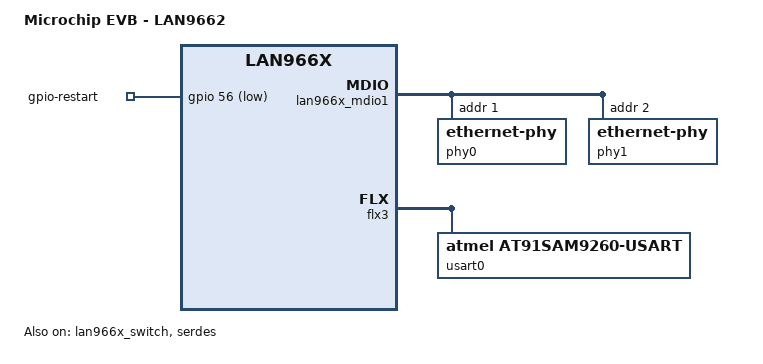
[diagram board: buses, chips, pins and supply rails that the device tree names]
// SPDX-License-Identifier: (GPL-2.0+ OR MIT)
/*
 * lan966x-sunrise.dts - Device Tree file for the Sunrise board
 */
/dts-v1/;
#include "lan9662_hsio_mode_1.dtsi"

/ {
	model = "Microchip EVB - LAN9662";
	compatible = "microchip,lan966x-sunrise", "microchip,lan966x";

	gpio-restart {
		compatible = "gpio-restart";
		gpios = <&gpio 56 GPIO_ACTIVE_LOW>;
		priority = <200>;
	};
};

&lan966x_mdio1 {
	status = "okay";

	phy0: ethernet-phy@1 {
		reg = <1>;
	};

	phy1: ethernet-phy@2 {
		reg = <2>;
	};
};

&lan966x_switch {
	status = "okay";
};

&serdes {
	status = "okay";
};

&port0 {
	status = "okay";
	phy-handle = <&phy0>;

	#address-cells = <1>;
	#size-cells = <0>;
};

&port1 {
	status = "okay";
	phy-handle = <&phy1>;

	#address-cells = <1>;
	#size-cells = <0>;
};

&flx3 {
	atmel,flexcom-mode = <ATMEL_FLEXCOM_MODE_USART>;
	status = "okay";

	usart0: serial@200 {
		compatible = "atmel,at91sam9260-usart";
		reg = <0x200 0x200>;
		interrupts = <GIC_SPI 51 IRQ_TYPE_LEVEL_HIGH>;
		clocks = <&nic_clk>;
		clock-names = "usart";
		assinged-clocks = <&clks GCK_ID_FLEXCOM3>;
		assigned-clock-rates = <30000000>;
		pinctrl-0 = <&fc3_b_pins>, <&fc_shrd7_pins>, <&fc_shrd8_pins>;
		pinctrl-names = "default";
		status = "okay";
	};
};
